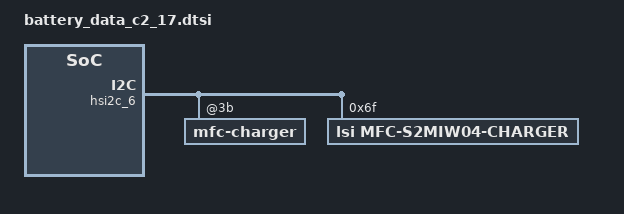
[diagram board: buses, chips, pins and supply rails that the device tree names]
/*
 * SAMSUNG UNIVERSAL9830 board device tree source
 *
 * Copyright (c) 2018 Samsung Electronics Co., Ltd.
 *		http://www.samsung.com
 *
 * This program is free software; you can redistribute it and/or modify
 * it under the terms of the GNU General Public License version 2 as
 * published by the Free Software Foundation.
 */

#include "battery_data_c2_common.dtsi"

/ {
	fragment@battery {
		target-path = "/";
		__overlay__ {
			battery {
				battery,full_condition_vcell = <4330>;
				battery,recharge_condition_vcell = <4310>;
				battery,chg_float_voltage = <4380>;

				battery,swelling_low_temp_current = <900>;	/* 0.24C */
				battery,swelling_low_temp_current_2nd = <350>;	/* 0.1C */
				battery,swelling_low_temp_current_3rd = <2750>;	/* 0.72C */
				battery,swelling_low_temp_topoff = <194>;	/* 0.05C */
				battery,swelling_high_temp_current = <1350>;	/* 0.36C */
				battery,swelling_high_temp_topoff = <194>;	/* 0.05C */
				battery,swelling_wc_high_temp_current = <900>;	/* 0.24C */
				battery,swelling_wc_low_temp_current = <900>;	/* 0.24C */
 				battery,swelling_wc_low_temp_current_2nd = <350>;	/* 0.1C */
				battery,swelling_wc_low_temp_current_3rd = <2750>;	/* 0.72C */
				battery,swelling_low_rechg_thr = <180>;

				battery,swelling_drop_float_voltage = <4150>;
				battery,swelling_high_rechg_voltage = <4000>;

				battery,chg_high_temp = <470>;
				battery,chg_high_temp_recovery = <450>;

				battery,dchg_high_temp = <550>;
				battery,dchg_high_temp_recovery = <420>;
				battery,dchg_high_batt_temp = <400>;
				battery,dchg_high_batt_temp_recovery = <390>;

				battery,battery_full_capacity = <4000>;

				/* cycle, chg_float_voltage, recharge_condition_vcell, full_condition_vcell, full_condition_soc */
				battery,age_data = <0 4380 4310 4330 93
						300 4360 4290 4310 92
						400 4340 4270 4290 91
						700 4320 4250 4270 90
						1000 4270 4200 4220 89>;

				battery,cisd_max_voltage_thr = <4430>; /* battery ovp detection voltage */

				battery,dc_step_chg_cond_vol = <4110 4210 4380>; /* STEP_CHARGING_CONDITION_VOLTAGE */ 
				battery,dc_step_chg_cond_iin = <1800 1610 0>; /* STEP_CHARGING_CONDITION_INPUT_CURRENT */
				battery,dc_step_chg_val_vfloat = <4110 4210 4380>; /* STEP_CHARGING_CONDITION_FLOAT_VOLTAGE */
				battery,dc_step_chg_val_iout = <4690 3600 3220>;
				battery,dc_step_chg_cond_soc = <25 55 100 25 55 100 25 55 100 25 55 100 25 55 100>; /* STEP_CHARGING_CONDITION_SOC */

				battery,snkcap_data = /bits/ 8 <0x04 0x2C 0x91 0x01 0x36 0xC8 0xD0 0x02 0x00 0xC8 0x90
					0x41 0x8B 0x34 0x21 0xDC 0xC0>;
			};

			max77705-fuelgauge {
				fuelgauge,qrtable20 = <0x1500>;
				fuelgauge,qrtable30 = <0x1000>;
				fuelgauge,capacity = <0x0E2E>;
				/* fullcapnom(=capacity), dPacc, dQacc,  rcomp0, tempco */
				fuelgauge,fg_reset_wa_data = <0x0E2E 0x3200 0x038B 0x0036 0x293A>;
			};

			cable-info {
				full_check_current_1st = <582>;
				full_check_current_2nd = <194>;
			};
		}; /* end of __overlay__ */
	}; /* end of fragment */
};

&pinctrl_0 {
	pdet_b: pdet-b {
		samsung,pins = "gpa0-6";
		samsung,pin-function = <0>;
		samsung,pin-pud = <1>;
		samsung,pin-drv = <0>;
		samsung,pin-con-pdn = <3>;
		samsung,pin-pud-pdn = <3>;
	};

	ping_nen: ping-nen {
		samsung,pins = "gpa2-1";
		samsung,pin-function = <0>;
		samsung,pin-pud = <1>;
		samsung,pin-drv = <0>;
		samsung,pin-con-pdn = <3>;
		samsung,pin-pud-pdn = <3>;
	};

	wchg_pdrc: wchg-pdrc {
		samsung,pins = "gpa4-1";
		samsung,pin-function = <0xf>;
		samsung,pin-pud = <0>;
		samsung,pin-drv = <0>;
	};
};

#define FOD_FLAG_NONE			0
#define FOD_FLAG_ADD			1
#define FOD_FLAG_USE_CC			2
#define FOD_FLAG_USE_DEFAULT	3
#define SET_FOD_CC(_flag)		(FOD_FLAG_ ##_flag)
#define SET_FOD_CV(_flag)		(FOD_FLAG_ ##_flag << 4)
#define SET_FOD_FULL(_flag)		(FOD_FLAG_ ##_flag << 8)

&hsi2c_6 {
	mfc-charger@3b {
		fod_list {
			count = <1>;

			pad_0x00 { /* DEFAULT */
				flag = <(SET_FOD_CC(ADD) | SET_FOD_CV(ADD) | SET_FOD_FULL(ADD))>;
				cc = <150 58 142 48 150 31 150 26 155 7 156 6>;
				cv = <150 88 142 78 150 61 150 56 155 37 156 36>;
				full = <255 127 255 127 255 127 255 127 255 127 255 127>;
			};
		};
	};

	mfc-s2miw04-charger@6f {
		compatible = "lsi,mfc-s2miw04-charger";
		reg = <0x6f>;
		status = "okay";

		pinctrl-names = "default";
		pinctrl-0 = <&pdet_b &wpc_det &ping_nen &wchg_pdrc &wpc_en &wpc_int>;

		battery,wpc_int = <&gpa3 1 0>;
		battery,wpc_det = <&gpa2 0 0>;
		battery,pdet_b = <&gpa2 6 0>;
		battery,mst_pwr_en = <&gpm18 0 0>;
		battery,ping_nen = <&gpa2 1 0>;
		battery,wpc_pdrc = <&gpa4 1 0>;
		battery,wpc_en = <&gpm10 0 0>;

		battery,charger_name = "max77705-charger";
		battery,fuelgauge_name = "max77705-fuelgauge";
		battery,wireless_charger_name = "mfc-charger";
		battery,wc_cover_rpp = <0x44>;
		battery,phone_fod_threshold = <0x3b>;
		battery,oc_fod1 = <1100>;
		battery,wireless20_vout_list = <9 9 9>; /* WIRELESS_VOUT_11V, 11V, 11V */
		battery,wireless20_vrect_list = <10 11 11>; /* MFC_AFC_CONF_12V_TX, 12.5V, 12.5V */
		battery,wireless20_max_power_list = <2 3 3>; /* SEC_WIRELESS_RX_POWER_12W, 15W, 15W */

		fod_list {
			count = <1>;

			pad_0x00 { /* DEFAULT */
				flag = <(SET_FOD_CC(ADD) | SET_FOD_CV(USE_CC) | SET_FOD_FULL(ADD))>;
				cc = <0x06 0xAA 0x06 0xAA 0x06 0xAA 0x06 0x99 0x06 0x99 0x06 0x99 0x0C 0x85 0x0C 0x85 0x08 0x9E 0x08 0x9E>;
				full = <0xFF 0xFF 0xFF 0xFF 0xFF 0xFF 0xFF 0xFF 0xFF 0xFF 0xFF 0xFF 0xFF 0xFF 0xFF 0xFF 0xFF 0xFF 0xFF 0xFF>;
			};
		};
	};
};
